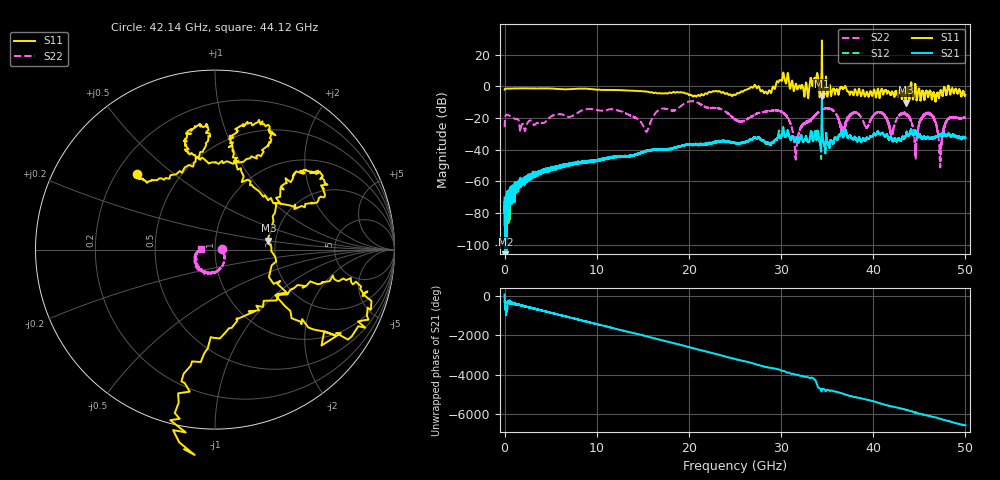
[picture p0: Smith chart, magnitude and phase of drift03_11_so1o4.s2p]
!Created with skrf (http://scikit-rf.org).
# Hz S RI R 50.0
!freq ReS11 ImS11 ReS21 ImS21 ReS12 ImS12 ReS22 ImS22
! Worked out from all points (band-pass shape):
!   10000 points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, 5.3 MHz to 50 GHz, reference 50 ohm
!   highest |S21| = -6.42 dB at 34.43 GHz (marker M1); lowest = -121.0 dB at 90.3 MHz (marker M2)
!   |S21| within 3 dB of the highest: 34.42734 GHz to 34.43442 GHz (7.075 MHz wide, 0.0205 % of centre)
!   lowest |S11| = -10.4 dB at 43.52 GHz (marker M3), VSWR 1.86, Z = 91.6 + j10 ohm
!   |S11| at or under -10 dB: 43.51156 GHz to 43.5306 GHz (19.03 MHz wide, 0.0437 % of centre)
!   |S22| runs from -51.3 to -9.4 dB; largest |S21 - S12| = 0.14
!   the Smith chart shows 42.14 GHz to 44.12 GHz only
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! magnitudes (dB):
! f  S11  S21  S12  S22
! 5.3 MHz  -2.1  -76.1  -80.7  -25.9
! 90.3 MHz  -1.5  -121.0  -77.2  -18.9
! 2.795 GHz  -1.4  -56.9  -56.5  -21.6
! 8.34 GHz  -1.5  -48.5  -47.7  -15.4
! 15.39 GHz  -3.5  -40.9  -40.9  -28.6
! 16.67 GHz  -4.4  -40.0  -40.0  -15.3
! 20.45 GHz  -6.5  -36.5  -36.6  -9.5
! 25.01 GHz  -5.5  -35.7  -36.0  -20.8
! 29.95 GHz  3.9  -32.6  -32.0  -15.7
! 31.61 GHz  1.5  -33.6  -33.5  -44.7
! 33.34 GHz  2.5  -29.9  -30.4  -20.6
! 34.43 GHz  28.9  -6.4  -8.3  -14.6
! 36.69 GHz  -1.5  -29.9  -29.9  -29.4
! 37.93 GHz  -4.0  -32.8  -33.1  -17.0
! 41.67 GHz  -3.4  -33.4  -33.5  -23.4
! 43.52 GHz  -10.4  -31.0  -31.4  -17.6
! 44.61 GHz  -1.1  -28.8  -28.9  -41.1
! 45.27 GHz  -4.0  -33.1  -33.1  -20.2
! 46.28 GHz  -5.5  -32.4  -32.7  -17.9
! 47.29 GHz  -3.0  -31.0  -30.6  -47.1
! 48.14 GHz  0.4  -29.7  -29.8  -20.4
! 50 GHz  -5.4  -32.5  -32.7  -19.7
